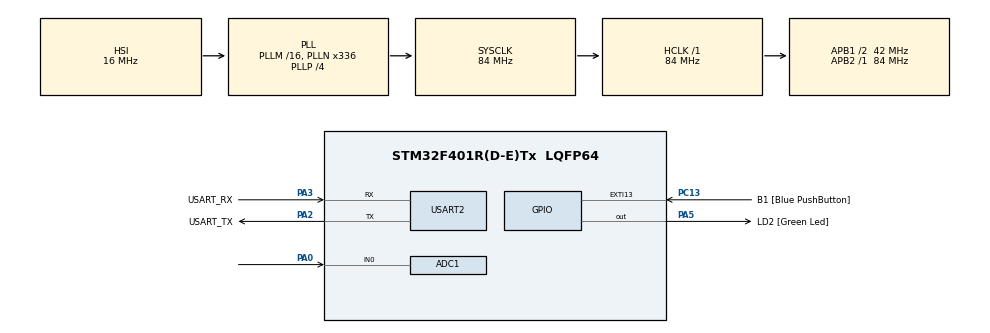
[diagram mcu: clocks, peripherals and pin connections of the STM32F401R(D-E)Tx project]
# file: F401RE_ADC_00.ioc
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ADC1.Channel-0\#ChannelRegularConversion=ADC_CHANNEL_0
ADC1.NbrOfConversionFlag=1
ADC1.Rank-0\#ChannelRegularConversion=1
ADC1.SamplingTime-0\#ChannelRegularConversion=ADC_SAMPLETIME_3CYCLES
ADC1.master=1
Mcu.Family=STM32F4
Mcu.Name=STM32F401R(D-E)Tx
Mcu.Package=LQFP64
NVIC.PriorityGroup=NVIC_PRIORITYGROUP_0
NVIC.USART2_IRQn=true\:0\:0\:false\:false\:true
PA0-WKUP.Signal=ADCx_IN0
PA13.GPIO_Label=TMS
PA13.Signal=SYS_JTMS-SWDIO
PA14.GPIO_Label=TCK
PA14.Signal=SYS_JTCK-SWCLK
PA2.GPIO_Label=USART_TX
PA2.GPIO_Mode=GPIO_MODE_AF_PP
PA2.GPIO_PuPd=GPIO_NOPULL
PA2.GPIO_Speed=GPIO_SPEED_FREQ_LOW
PA2.Mode=Asynchronous
PA2.Signal=USART2_TX
PA3.GPIO_Label=USART_RX
PA3.GPIO_Mode=GPIO_MODE_AF_PP
PA3.GPIO_PuPd=GPIO_NOPULL
PA3.GPIO_Speed=GPIO_SPEED_FREQ_LOW
PA3.Mode=Asynchronous
PA3.Signal=USART2_RX
PA5.GPIO_Label=LD2 [Green Led]
PA5.GPIO_Mode=GPIO_MODE_OUTPUT_PP
PA5.GPIO_PuPd=GPIO_NOPULL
PA5.GPIO_Speed=GPIO_SPEED_FREQ_LOW
PA5.Signal=GPIO_Output
PB3.GPIO_Label=SWO
PB3.Signal=SYS_JTDO-SWO
PC13-ANTI_TAMP.GPIO_Label=B1 [Blue PushButton]
PC13-ANTI_TAMP.GPIO_ModeDefaultEXTI=GPIO_MODE_EVT_RISING
PC13-ANTI_TAMP.GPIO_PuPd=GPIO_NOPULL
PC13-ANTI_TAMP.Signal=GPXTI13
PC14-OSC32_IN.Signal=RCC_OSC32_IN
PC15-OSC32_OUT.Signal=RCC_OSC32_OUT
PH0\ -\ OSC_IN.Signal=RCC_OSC_IN
PH1\ -\ OSC_OUT.Signal=RCC_OSC_OUT
ProjectManager.HeapSize=0x200
ProjectManager.StackSize=0x400
ProjectManager.TargetToolchain=MDK-ARM V5
RCC.AHBFreq_Value=84000000
RCC.APB1CLKDivider=RCC_HCLK_DIV2
RCC.APB1Freq_Value=42000000
RCC.APB1TimFreq_Value=84000000
RCC.APB2Freq_Value=84000000
RCC.APB2TimFreq_Value=84000000
RCC.CortexFreq_Value=84000000
RCC.HCLKFreq_Value=84000000
RCC.HSE_VALUE=8000000
RCC.HSI_VALUE=16000000
RCC.LSE_VALUE=32768
RCC.PLLN=336
RCC.PLLP=RCC_PLLP_DIV4
RCC.PLLQ=7
RCC.SYSCLKFreq_VALUE=84000000
RCC.SYSCLKSource=RCC_SYSCLKSOURCE_PLLCLK
RCC.VCOOutputFreq_Value=336000000
SH.ADCx_IN0.0=ADC1_IN0,IN0
board=NUCLEO-F401RE

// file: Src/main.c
/**
  ******************************************************************************
  * File Name          : main.c
  * Description        : Main program body
  ******************************************************************************
  *
  * COPYRIGHT(c) 2016 STMicroelectronics
  *
  * Redistribution and use in source and binary forms, with or without modification,
  * are permitted provided that the following conditions are met:
  *   1. Redistributions of source code must retain the above copyright notice,
  *      this list of conditions and the following disclaimer.
  *   2. Redistributions in binary form must reproduce the above copyright notice,
  *      this list of conditions and the following disclaimer in the documentation
  *      and/or other materials provided with the distribution.
  *   3. Neither the name of STMicroelectronics nor the names of its contributors
  *      may be used to endorse or promote products derived from this software
  *      without specific prior written permission.
  *
  * THIS SOFTWARE IS PROVIDED BY THE COPYRIGHT HOLDERS AND CONTRIBUTORS "AS IS"
  * AND ANY EXPRESS OR IMPLIED WARRANTIES, INCLUDING, BUT NOT LIMITED TO, THE
  * IMPLIED WARRANTIES OF MERCHANTABILITY AND FITNESS FOR A PARTICULAR PURPOSE ARE
  * DISCLAIMED. IN NO EVENT SHALL THE COPYRIGHT HOLDER OR CONTRIBUTORS BE LIABLE
  * FOR ANY DIRECT, INDIRECT, INCIDENTAL, SPECIAL, EXEMPLARY, OR CONSEQUENTIAL
  * DAMAGES (INCLUDING, BUT NOT LIMITED TO, PROCUREMENT OF SUBSTITUTE GOODS OR
  * SERVICES; LOSS OF USE, DATA, OR PROFITS; OR BUSINESS INTERRUPTION) HOWEVER
  * CAUSED AND ON ANY THEORY OF LIABILITY, WHETHER IN CONTRACT, STRICT LIABILITY,
  * OR TORT (INCLUDING NEGLIGENCE OR OTHERWISE) ARISING IN ANY WAY OUT OF THE USE
  * OF THIS SOFTWARE, EVEN IF ADVISED OF THE POSSIBILITY OF SUCH DAMAGE.
  *
  ******************************************************************************
  */
#include "stm32f4xx_hal.h"

/* USER CODE BEGIN Includes */
#include <stdio.h>
#include <stdlib.h>
#include <string.h>

/* USER CODE END Includes */

ADC_HandleTypeDef hadc1;

UART_HandleTypeDef huart2;

/* USER CODE BEGIN PV */
/* Private variables ---------------------------------------------------------*/

/* USER CODE END PV */

void SystemClock_Config(void);
void Error_Handler(void);
static void MX_GPIO_Init(void);
static void MX_ADC1_Init(void);
static void MX_USART2_UART_Init(void);

/* USER CODE BEGIN PFP */
/* Private function prototypes -----------------------------------------------*/
char sio_getc(void);		// UARTから1文字取得
void sio_putc(char);		// UARTに1文字を出力
void sio_puts(char *);	// UARTに文字列を出力
/* USER CODE END PFP */

/* USER CODE BEGIN 0 */
char sio_getc()
{
	char ch;
	while(HAL_UART_Receive(&huart2, (uint8_t *)&ch, 1, 1000)==HAL_TIMEOUT) ;
	return ch;
}

void sio_putc(char ch)
{
	HAL_UART_Transmit(&huart2, (uint8_t *)&ch, 1, 1000);
}

void sio_puts(char *str)
{
	HAL_UART_Transmit(&huart2, (uint8_t *)str, strlen(str), 1000);
}
/* USER CODE END 0 */

int main(void)
{

  /* USER CODE BEGIN 1 */
	int adc1 = 1;
	char str[16];

  /* USER CODE END 1 */

  /* MCU Configuration----------------------------------------------------------*/

  /* Reset of all peripherals, Initializes the Flash interface and the Systick. */
  HAL_Init();

  /* Configure the system clock */
  SystemClock_Config();

  /* Initialize all configured peripherals */
  MX_GPIO_Init();
  MX_ADC1_Init();
  MX_USART2_UART_Init();

  /* USER CODE BEGIN 2 */
  HAL_ADCEx_InjectedStart(&hadc1);

  /* USER CODE END 2 */

  /* Infinite loop */
  /* USER CODE BEGIN WHILE */
  while (1)
  {
	  HAL_ADC_Start(&hadc1);
	  HAL_ADC_PollForConversion(&hadc1, 100);
	  //if(HAL_ADC_GetState(&hadc1) == HAL_ADC_STATE_EOC_REG){
		  adc1 = HAL_ADC_GetValue(&hadc1);
		  sprintf(str, "AD0: %04X\n", adc1);
		  sio_puts(str);
	  //}
	  HAL_ADC_Stop(&hadc1);
	  HAL_Delay(100);

  /* USER CODE END WHILE */

  }

}

/** System Clock Configuration
*/
void SystemClock_Config(void)
{

  RCC_OscInitTypeDef RCC_OscInitStruct;
  RCC_ClkInitTypeDef RCC_ClkInitStruct;

  __HAL_RCC_PWR_CLK_ENABLE();

  __HAL_PWR_VOLTAGESCALING_CONFIG(PWR_REGULATOR_VOLTAGE_SCALE2);

  RCC_OscInitStruct.OscillatorType = RCC_OSCILLATORTYPE_HSI;
  RCC_OscInitStruct.HSIState = RCC_HSI_ON;
  RCC_OscInitStruct.HSICalibrationValue = 16;
  RCC_OscInitStruct.PLL.PLLState = RCC_PLL_ON;
  RCC_OscInitStruct.PLL.PLLSource = RCC_PLLSOURCE_HSI;
  RCC_OscInitStruct.PLL.PLLM = 16;
  RCC_OscInitStruct.PLL.PLLN = 336;
  RCC_OscInitStruct.PLL.PLLP = RCC_PLLP_DIV4;
  RCC_OscInitStruct.PLL.PLLQ = 7;
  if (HAL_RCC_OscConfig(&RCC_OscInitStruct) != HAL_OK)
  {
    Error_Handler();
  }

  RCC_ClkInitStruct.ClockType = RCC_CLOCKTYPE_HCLK|RCC_CLOCKTYPE_SYSCLK
                              |RCC_CLOCKTYPE_PCLK1|RCC_CLOCKTYPE_PCLK2;
  RCC_ClkInitStruct.SYSCLKSource = RCC_SYSCLKSOURCE_PLLCLK;
  RCC_ClkInitStruct.AHBCLKDivider = RCC_SYSCLK_DIV1;
  RCC_ClkInitStruct.APB1CLKDivider = RCC_HCLK_DIV2;
  RCC_ClkInitStruct.APB2CLKDivider = RCC_HCLK_DIV1;
  if (HAL_RCC_ClockConfig(&RCC_ClkInitStruct, FLASH_LATENCY_2) != HAL_OK)
  {
    Error_Handler();
  }

  HAL_SYSTICK_Config(HAL_RCC_GetHCLKFreq()/1000);

  HAL_SYSTICK_CLKSourceConfig(SYSTICK_CLKSOURCE_HCLK);

  /* SysTick_IRQn interrupt configuration */
  HAL_NVIC_SetPriority(SysTick_IRQn, 0, 0);
}

/* ADC1 init function */
static void MX_ADC1_Init(void)
{

  ADC_ChannelConfTypeDef sConfig;

    /**Configure the global features of the ADC (Clock, Resolution, Data Alignment and number of conversion)
    */
  hadc1.Instance = ADC1;
  hadc1.Init.ClockPrescaler = ADC_CLOCK_SYNC_PCLK_DIV4;
  hadc1.Init.Resolution = ADC_RESOLUTION_12B;
  hadc1.Init.ScanConvMode = DISABLE;
  hadc1.Init.ContinuousConvMode = DISABLE;
  hadc1.Init.DiscontinuousConvMode = DISABLE;
  hadc1.Init.ExternalTrigConvEdge = ADC_EXTERNALTRIGCONVEDGE_NONE;
  hadc1.Init.DataAlign = ADC_DATAALIGN_RIGHT;
  hadc1.Init.NbrOfConversion = 1;
  hadc1.Init.DMAContinuousRequests = DISABLE;
  hadc1.Init.EOCSelection = ADC_EOC_SINGLE_CONV;
  if (HAL_ADC_Init(&hadc1) != HAL_OK)
  {
    Error_Handler();
  }

    /**Configure for the selected ADC regular channel its corresponding rank in the sequencer and its sample time.
    */
  sConfig.Channel = ADC_CHANNEL_0;
  sConfig.Rank = 1;
  sConfig.SamplingTime = ADC_SAMPLETIME_3CYCLES;
  if (HAL_ADC_ConfigChannel(&hadc1, &sConfig) != HAL_OK)
  {
    Error_Handler();
  }

}

/* USART2 init function */
static void MX_USART2_UART_Init(void)
{

  huart2.Instance = USART2;
  huart2.Init.BaudRate = 115200;
  huart2.Init.WordLength = UART_WORDLENGTH_8B;
  huart2.Init.StopBits = UART_STOPBITS_1;
  huart2.Init.Parity = UART_PARITY_NONE;
  huart2.Init.Mode = UART_MODE_TX_RX;
  huart2.Init.HwFlowCtl = UART_HWCONTROL_NONE;
  huart2.Init.OverSampling = UART_OVERSAMPLING_16;
  if (HAL_UART_Init(&huart2) != HAL_OK)
  {
    Error_Handler();
  }

}

/** Configure pins as
        * Analog
        * Input
        * Output
        * EVENT_OUT
        * EXTI
*/
static void MX_GPIO_Init(void)
{

  GPIO_InitTypeDef GPIO_InitStruct;

  /* GPIO Ports Clock Enable */
  __HAL_RCC_GPIOC_CLK_ENABLE();
  __HAL_RCC_GPIOH_CLK_ENABLE();
  __HAL_RCC_GPIOA_CLK_ENABLE();
  __HAL_RCC_GPIOB_CLK_ENABLE();

  /*Configure GPIO pin : B1_Pin */
  GPIO_InitStruct.Pin = B1_Pin;
  GPIO_InitStruct.Mode = GPIO_MODE_EVT_RISING;
  GPIO_InitStruct.Pull = GPIO_NOPULL;
  HAL_GPIO_Init(B1_GPIO_Port, &GPIO_InitStruct);

  /*Configure GPIO pin : LD2_Pin */
  GPIO_InitStruct.Pin = LD2_Pin;
  GPIO_InitStruct.Mode = GPIO_MODE_OUTPUT_PP;
  GPIO_InitStruct.Pull = GPIO_NOPULL;
  GPIO_InitStruct.Speed = GPIO_SPEED_FREQ_LOW;
  HAL_GPIO_Init(LD2_GPIO_Port, &GPIO_InitStruct);

  /*Configure GPIO pin Output Level */
  HAL_GPIO_WritePin(LD2_GPIO_Port, LD2_Pin, GPIO_PIN_RESET);

}

void Error_Handler(void)
{
  while(1)
  {
  }
}

/************************ (C) COPYRIGHT STMicroelectronics *****END OF FILE****/
